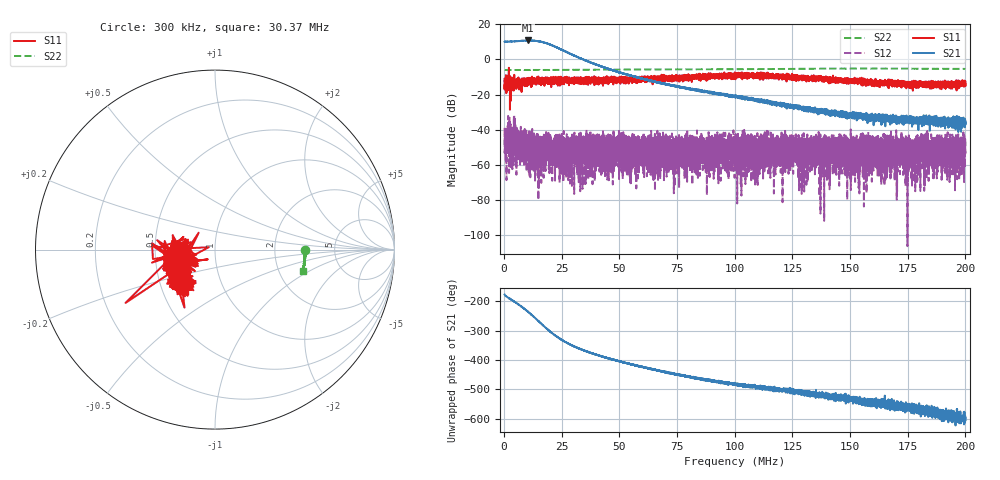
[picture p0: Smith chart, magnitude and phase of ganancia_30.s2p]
# Hz S DB R 50
! CMT, M5065, 19127446, 24.2.4/2
! Date: 11/8/2024 3:08:06 PM
! Data: Format (Calibration Info)
! Freq	S11:dB/Ang(F2)	S21:dB/Ang(F2)	S12:dB/Ang(F2)	S22:dB/Ang(F2)
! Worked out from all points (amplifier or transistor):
!   9000 points, 300 kHz to 200 MHz, reference 50 ohm
!   highest |S21| = 10.8 dB at 10.55 MHz (marker M1)
!   |S21| within 3 dB of that: start of sweep to 21.2 MHz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
!   unconditionally stable (mu >= 1): start of sweep to end of sweep
!   at 33.59 MHz: K = 237.03, MAG = 1.9 dB, |S12| = -57.0 dB
!   at 100.2 MHz: K = 1044.42, MAG = -18.8 dB, |S12| = -49.7 dB
!   at 200 MHz: K = 9767.22, MAG = -33.5 dB, |S12| = -53.9 dB
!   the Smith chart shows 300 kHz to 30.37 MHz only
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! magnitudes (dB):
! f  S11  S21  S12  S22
! 300 kHz  -14.8  10.1  -38.9  -6.0
! 1.565 MHz  -13.2  10.1  -45.6  -6.0
! 10.55 MHz  -12.6  10.8  -49.8  -6.0
! 15.57 MHz  -11.0  10.2  -54.4  -6.0
! 18.59 MHz  -11.2  9.2  -47.2  -6.0
! 20.47 MHz  -11.2  8.3  -51.7  -6.0
! 33.59 MHz  -12.9  0.4  -57.0  -5.9
! 66.87 MHz  -10.3  -13.0  -52.1  -5.7
! 100.2 MHz  -8.6  -20.8  -49.7  -5.6
! 109.9 MHz  -8.9  -23.3  -64.3  -5.5
! 113.7 MHz  -8.8  -24.3  -53.5  -5.5
! 116.8 MHz  -9.7  -24.9  -57.8  -5.4
! 118.7 MHz  -9.6  -25.0  -45.3  -5.4
! 133.4 MHz  -10.4  -27.9  -46.6  -5.3
! 166.7 MHz  -13.7  -32.2  -50.9  -5.2
! 169.8 MHz  -13.2  -33.9  -58.9  -5.2
! 171.8 MHz  -13.3  -34.5  -50.3  -5.2
! 177.3 MHz  -14.2  -36.0  -55.3  -5.3
! 181.1 MHz  -14.4  -34.2  -55.1  -5.3
! 186.8 MHz  -15.9  -35.5  -50.5  -5.3
! 188.7 MHz  -14.4  -34.6  -48.1  -5.3
! 200 MHz  -14.8  -35.2  -53.9  -5.4
